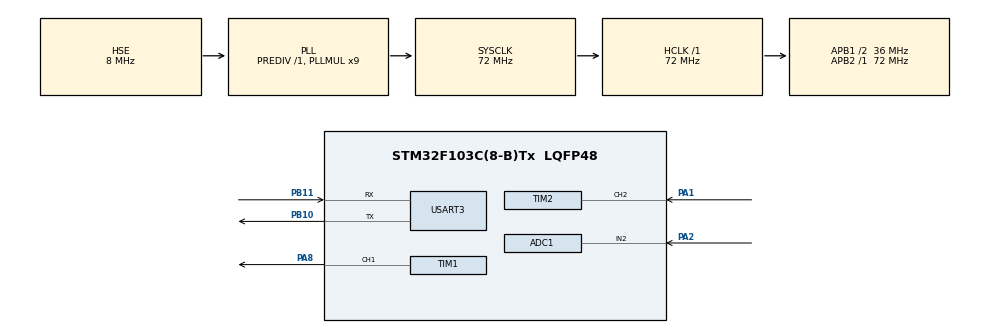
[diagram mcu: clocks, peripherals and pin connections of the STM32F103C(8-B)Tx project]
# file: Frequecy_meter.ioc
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ADC1.Channel-0\#ChannelRegularConversion=ADC_CHANNEL_2
ADC1.ContinuousConvMode=ENABLE
ADC1.NbrOfConversion=1
ADC1.NbrOfConversionFlag=1
ADC1.Rank-0\#ChannelRegularConversion=1
ADC1.SamplingTime-0\#ChannelRegularConversion=ADC_SAMPLETIME_1CYCLE_5
ADC1.master=1
Mcu.Family=STM32F1
Mcu.Name=STM32F103C(8-B)Tx
Mcu.Package=LQFP48
NVIC.PriorityGroup=NVIC_PRIORITYGROUP_4
NVIC.TIM2_IRQn=true\:0\:0\:false\:false\:true\:true\:true
PA1.Signal=S_TIM2_CH2
PA13.Mode=Serial_Wire
PA13.Signal=SYS_JTMS-SWDIO
PA14.Mode=Serial_Wire
PA14.Signal=SYS_JTCK-SWCLK
PA2.Signal=ADCx_IN2
PA8.Signal=S_TIM1_CH1
PB10.Mode=Asynchronous
PB10.Signal=USART3_TX
PB11.Mode=Asynchronous
PB11.Signal=USART3_RX
PD0-OSC_IN.Mode=HSE-External-Oscillator
PD0-OSC_IN.Signal=RCC_OSC_IN
PD1-OSC_OUT.Mode=HSE-External-Oscillator
PD1-OSC_OUT.Signal=RCC_OSC_OUT
ProjectManager.HeapSize=0x200
ProjectManager.StackSize=0x400
ProjectManager.TargetToolchain=MDK-ARM V5
RCC.ADCPresc=RCC_ADCPCLK2_DIV6
RCC.AHBFreq_Value=72000000
RCC.APB1CLKDivider=RCC_HCLK_DIV2
RCC.APB1Freq_Value=36000000
RCC.APB1TimFreq_Value=72000000
RCC.APB2Freq_Value=72000000
RCC.APB2TimFreq_Value=72000000
RCC.HCLKFreq_Value=72000000
RCC.PLLMUL=RCC_PLL_MUL9
RCC.PLLSourceVirtual=RCC_PLLSOURCE_HSE
RCC.SYSCLKFreq_VALUE=72000000
RCC.SYSCLKSource=RCC_SYSCLKSOURCE_PLLCLK
RCC.USBFreq_Value=72000000
SH.ADCx_IN2.0=ADC1_IN2,IN2
SH.S_TIM1_CH1.0=TIM1_CH1,PWM Generation1 CH1
SH.S_TIM2_CH2.0=TIM2_CH2,Input_Capture2_from_TI2
TIM1.Channel-PWM\ Generation1\ CH1=TIM_CHANNEL_1
TIM1.Period=1023
TIM1.Prescaler=17
TIM1.Pulse-PWM\ Generation1\ CH1=383
TIM2.AutoReloadPreload=TIM_AUTORELOAD_PRELOAD_ENABLE
TIM2.Channel-Input_Capture2_from_TI2=TIM_CHANNEL_2
USART3.VirtualMode=VM_ASYNC
board=custom

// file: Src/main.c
/* USER CODE BEGIN Header */
/**
  ******************************************************************************
  * @file           : main.c
  * @brief          : Main program body
  ******************************************************************************
  * @attention
  *
  * <h2><center>&copy; Copyright (c) 2020 STMicroelectronics.
  * All rights reserved.</center></h2>
  *
  * This software component is licensed by ST under BSD 3-Clause license,
  * the "License"; You may not use this file except in compliance with the
  * License. You may obtain a copy of the License at:
  *                        opensource.org/licenses/BSD-3-Clause
  *
  ******************************************************************************
  */
/* USER CODE END Header */

#include "main.h"

ADC_HandleTypeDef hadc1;

TIM_HandleTypeDef htim1;
TIM_HandleTypeDef htim2;

UART_HandleTypeDef huart3;

void SystemClock_Config(void);
static void MX_GPIO_Init(void);
static void MX_ADC1_Init(void);
static void MX_TIM1_Init(void);
static void MX_TIM2_Init(void);
static void MX_USART3_UART_Init(void);

/* USER CODE BEGIN 0 */
uint16_t adcValue;
float voltageop = 0;
uint32_t icValue1 = 0;
uint32_t icValue2 = 0;
uint32_t diffCapture = 0;
uint16_t captureIndex = 0;
uint32_t frequency = 0;
char strBuffer[32];

uint16_t ADC_Read(void);

/* USER CODE END 0 */

int main(void)
{

  /* MCU Configuration--------------------------------------------------------*/

  /* Reset of all peripherals, Initializes the Flash interface and the Systick. */
  HAL_Init();

  /* Configure the system clock */
  SystemClock_Config();

  /* Initialize all configured peripherals */
  MX_GPIO_Init();
  MX_ADC1_Init();
  MX_TIM1_Init();
  MX_TIM2_Init();
  MX_USART3_UART_Init();
  /* USER CODE BEGIN 2 */
	HAL_TIM_PWM_Start(&htim1, TIM_CHANNEL_1);
	HAL_TIM_IC_Start_IT(&htim2, TIM_CHANNEL_2);
	HAL_ADC_Start(&hadc1);
  /* USER CODE END 2 */

  /* Infinite loop */
  while (1)
  {
    /* USER CODE BEGIN 3 */
		sprintf(strBuffer,"Frequency is %d Hz\n", frequency);
		HAL_UART_Transmit(&huart3,(uint8_t*)strBuffer,strlen(strBuffer),HAL_TIMEOUT);
		adcValue = HAL_ADC_GetValue(&hadc1);
		TIM1 -> PSC = ( adcValue>>8 ) ;
		voltageop = adcValue * 3.3 / (0x0FFF);
		sprintf(strBuffer,"Analog value is %.2f Volts\n", voltageop);
		HAL_UART_Transmit(&huart3,(uint8_t*)strBuffer,strlen(strBuffer),HAL_TIMEOUT);

		HAL_Delay(2000);
  }
  /* USER CODE END 3 */
}

void SystemClock_Config(void)
{
  RCC_OscInitTypeDef RCC_OscInitStruct = {0};
  RCC_ClkInitTypeDef RCC_ClkInitStruct = {0};
  RCC_PeriphCLKInitTypeDef PeriphClkInit = {0};

  /** Initializes the CPU, AHB and APB busses clocks
  */
  RCC_OscInitStruct.OscillatorType = RCC_OSCILLATORTYPE_HSE;
  RCC_OscInitStruct.HSEState = RCC_HSE_ON;
  RCC_OscInitStruct.HSEPredivValue = RCC_HSE_PREDIV_DIV1;
  RCC_OscInitStruct.HSIState = RCC_HSI_ON;
  RCC_OscInitStruct.PLL.PLLState = RCC_PLL_ON;
  RCC_OscInitStruct.PLL.PLLSource = RCC_PLLSOURCE_HSE;
  RCC_OscInitStruct.PLL.PLLMUL = RCC_PLL_MUL9;
  if (HAL_RCC_OscConfig(&RCC_OscInitStruct) != HAL_OK)
  {
    Error_Handler();
  }
  /** Initializes the CPU, AHB and APB busses clocks
  */
  RCC_ClkInitStruct.ClockType = RCC_CLOCKTYPE_HCLK|RCC_CLOCKTYPE_SYSCLK
                              |RCC_CLOCKTYPE_PCLK1|RCC_CLOCKTYPE_PCLK2;
  RCC_ClkInitStruct.SYSCLKSource = RCC_SYSCLKSOURCE_PLLCLK;
  RCC_ClkInitStruct.AHBCLKDivider = RCC_SYSCLK_DIV1;
  RCC_ClkInitStruct.APB1CLKDivider = RCC_HCLK_DIV2;
  RCC_ClkInitStruct.APB2CLKDivider = RCC_HCLK_DIV1;

  if (HAL_RCC_ClockConfig(&RCC_ClkInitStruct, FLASH_LATENCY_2) != HAL_OK)
  {
    Error_Handler();
  }
  PeriphClkInit.PeriphClockSelection = RCC_PERIPHCLK_ADC;
  PeriphClkInit.AdcClockSelection = RCC_ADCPCLK2_DIV6;
  if (HAL_RCCEx_PeriphCLKConfig(&PeriphClkInit) != HAL_OK)
  {
    Error_Handler();
  }
}

static void MX_ADC1_Init(void)
{

  ADC_ChannelConfTypeDef sConfig = {0};

  /** Common config
  */
  hadc1.Instance = ADC1;
  hadc1.Init.ScanConvMode = ADC_SCAN_DISABLE;
  hadc1.Init.ContinuousConvMode = ENABLE;
  hadc1.Init.DiscontinuousConvMode = DISABLE;
  hadc1.Init.ExternalTrigConv = ADC_SOFTWARE_START;
  hadc1.Init.DataAlign = ADC_DATAALIGN_RIGHT;
  hadc1.Init.NbrOfConversion = 1;
  if (HAL_ADC_Init(&hadc1) != HAL_OK)
  {
    Error_Handler();
  }
  /** Configure Regular Channel
  */
  sConfig.Channel = ADC_CHANNEL_2;
  sConfig.Rank = ADC_REGULAR_RANK_1;
  sConfig.SamplingTime = ADC_SAMPLETIME_1CYCLE_5;
  if (HAL_ADC_ConfigChannel(&hadc1, &sConfig) != HAL_OK)
  {
    Error_Handler();
  }

}

static void MX_TIM1_Init(void)
{

  TIM_MasterConfigTypeDef sMasterConfig = {0};
  TIM_OC_InitTypeDef sConfigOC = {0};
  TIM_BreakDeadTimeConfigTypeDef sBreakDeadTimeConfig = {0};

  htim1.Instance = TIM1;
  htim1.Init.Prescaler = 0;
  htim1.Init.CounterMode = TIM_COUNTERMODE_UP;
  htim1.Init.Period = 511;
  htim1.Init.ClockDivision = TIM_CLOCKDIVISION_DIV1;
  htim1.Init.RepetitionCounter = 0;
  htim1.Init.AutoReloadPreload = TIM_AUTORELOAD_PRELOAD_DISABLE;
  if (HAL_TIM_PWM_Init(&htim1) != HAL_OK)
  {
    Error_Handler();
  }
  sMasterConfig.MasterOutputTrigger = TIM_TRGO_RESET;
  sMasterConfig.MasterSlaveMode = TIM_MASTERSLAVEMODE_DISABLE;
  if (HAL_TIMEx_MasterConfigSynchronization(&htim1, &sMasterConfig) != HAL_OK)
  {
    Error_Handler();
  }
  sConfigOC.OCMode = TIM_OCMODE_PWM1;
  sConfigOC.Pulse = 183;
  sConfigOC.OCPolarity = TIM_OCPOLARITY_HIGH;
  sConfigOC.OCNPolarity = TIM_OCNPOLARITY_HIGH;
  sConfigOC.OCFastMode = TIM_OCFAST_DISABLE;
  sConfigOC.OCIdleState = TIM_OCIDLESTATE_RESET;
  sConfigOC.OCNIdleState = TIM_OCNIDLESTATE_RESET;
  if (HAL_TIM_PWM_ConfigChannel(&htim1, &sConfigOC, TIM_CHANNEL_1) != HAL_OK)
  {
    Error_Handler();
  }
  sBreakDeadTimeConfig.OffStateRunMode = TIM_OSSR_DISABLE;
  sBreakDeadTimeConfig.OffStateIDLEMode = TIM_OSSI_DISABLE;
  sBreakDeadTimeConfig.LockLevel = TIM_LOCKLEVEL_OFF;
  sBreakDeadTimeConfig.DeadTime = 0;
  sBreakDeadTimeConfig.BreakState = TIM_BREAK_DISABLE;
  sBreakDeadTimeConfig.BreakPolarity = TIM_BREAKPOLARITY_HIGH;
  sBreakDeadTimeConfig.AutomaticOutput = TIM_AUTOMATICOUTPUT_DISABLE;
  if (HAL_TIMEx_ConfigBreakDeadTime(&htim1, &sBreakDeadTimeConfig) != HAL_OK)
  {
    Error_Handler();
  }
  HAL_TIM_MspPostInit(&htim1);

}

static void MX_TIM2_Init(void)
{

  TIM_MasterConfigTypeDef sMasterConfig = {0};
  TIM_IC_InitTypeDef sConfigIC = {0};

  htim2.Instance = TIM2;
  htim2.Init.Prescaler = 0;
  htim2.Init.CounterMode = TIM_COUNTERMODE_UP;
  htim2.Init.Period = 0xFFFF;
  htim2.Init.ClockDivision = TIM_CLOCKDIVISION_DIV1;
  htim2.Init.AutoReloadPreload = TIM_AUTORELOAD_PRELOAD_ENABLE;
  if (HAL_TIM_IC_Init(&htim2) != HAL_OK)
  {
    Error_Handler();
  }
  sMasterConfig.MasterOutputTrigger = TIM_TRGO_RESET;
  sMasterConfig.MasterSlaveMode = TIM_MASTERSLAVEMODE_DISABLE;
  if (HAL_TIMEx_MasterConfigSynchronization(&htim2, &sMasterConfig) != HAL_OK)
  {
    Error_Handler();
  }
  sConfigIC.ICPolarity = TIM_INPUTCHANNELPOLARITY_RISING;
  sConfigIC.ICSelection = TIM_ICSELECTION_DIRECTTI;
  sConfigIC.ICPrescaler = TIM_ICPSC_DIV1;
  sConfigIC.ICFilter = 0;
  if (HAL_TIM_IC_ConfigChannel(&htim2, &sConfigIC, TIM_CHANNEL_2) != HAL_OK)
  {
    Error_Handler();
  }

}

static void MX_USART3_UART_Init(void)
{

  huart3.Instance = USART3;
  huart3.Init.BaudRate = 115200;
  huart3.Init.WordLength = UART_WORDLENGTH_8B;
  huart3.Init.StopBits = UART_STOPBITS_1;
  huart3.Init.Parity = UART_PARITY_NONE;
  huart3.Init.Mode = UART_MODE_TX_RX;
  huart3.Init.HwFlowCtl = UART_HWCONTROL_NONE;
  huart3.Init.OverSampling = UART_OVERSAMPLING_16;
  if (HAL_UART_Init(&huart3) != HAL_OK)
  {
    Error_Handler();
  }

}

static void MX_GPIO_Init(void)
{

  /* GPIO Ports Clock Enable */
  __HAL_RCC_GPIOD_CLK_ENABLE();
  __HAL_RCC_GPIOA_CLK_ENABLE();
  __HAL_RCC_GPIOB_CLK_ENABLE();

}

/* USER CODE BEGIN 4 */
void HAL_TIM_IC_CaptureCallback(TIM_HandleTypeDef *htim)
{
	if (htim->Channel == HAL_TIM_ACTIVE_CHANNEL_2)
	{
		if (captureIndex == 0)
		{
			/* Get the 1st input capture value */
			icValue1 = HAL_TIM_ReadCapturedValue(htim, TIM_CHANNEL_2);

			captureIndex = 1;
		}
		else if (captureIndex == 1)
		{
			/* Get the 2nd input capture value */
			icValue2 = HAL_TIM_ReadCapturedValue(htim, TIM_CHANNEL_2);

			/* Capture computation */
			if (icValue2 > icValue1)
			{
				diffCapture = icValue2 - icValue1;
			}
			else if (icValue2 < icValue1)
			{
				/* 0xFFFF is max TIM3 CCRx register value */
				diffCapture = ((0xFFFF-icValue1) + icValue2) + 1;
			}
			else
			{
				/* If capture values are equal, we have reached the limit of
				 * frequency measures */
				Error_Handler();
			}

			/* Frequency computation */
			/* TIM3CLK = 72 MHz */
			frequency = 72000000.0 / diffCapture;

			captureIndex = 0;
		}
	}
}
/* USER CODE END 4 */

void Error_Handler(void)
{
}

/************************ (C) COPYRIGHT STMicroelectronics *****END OF FILE****/
